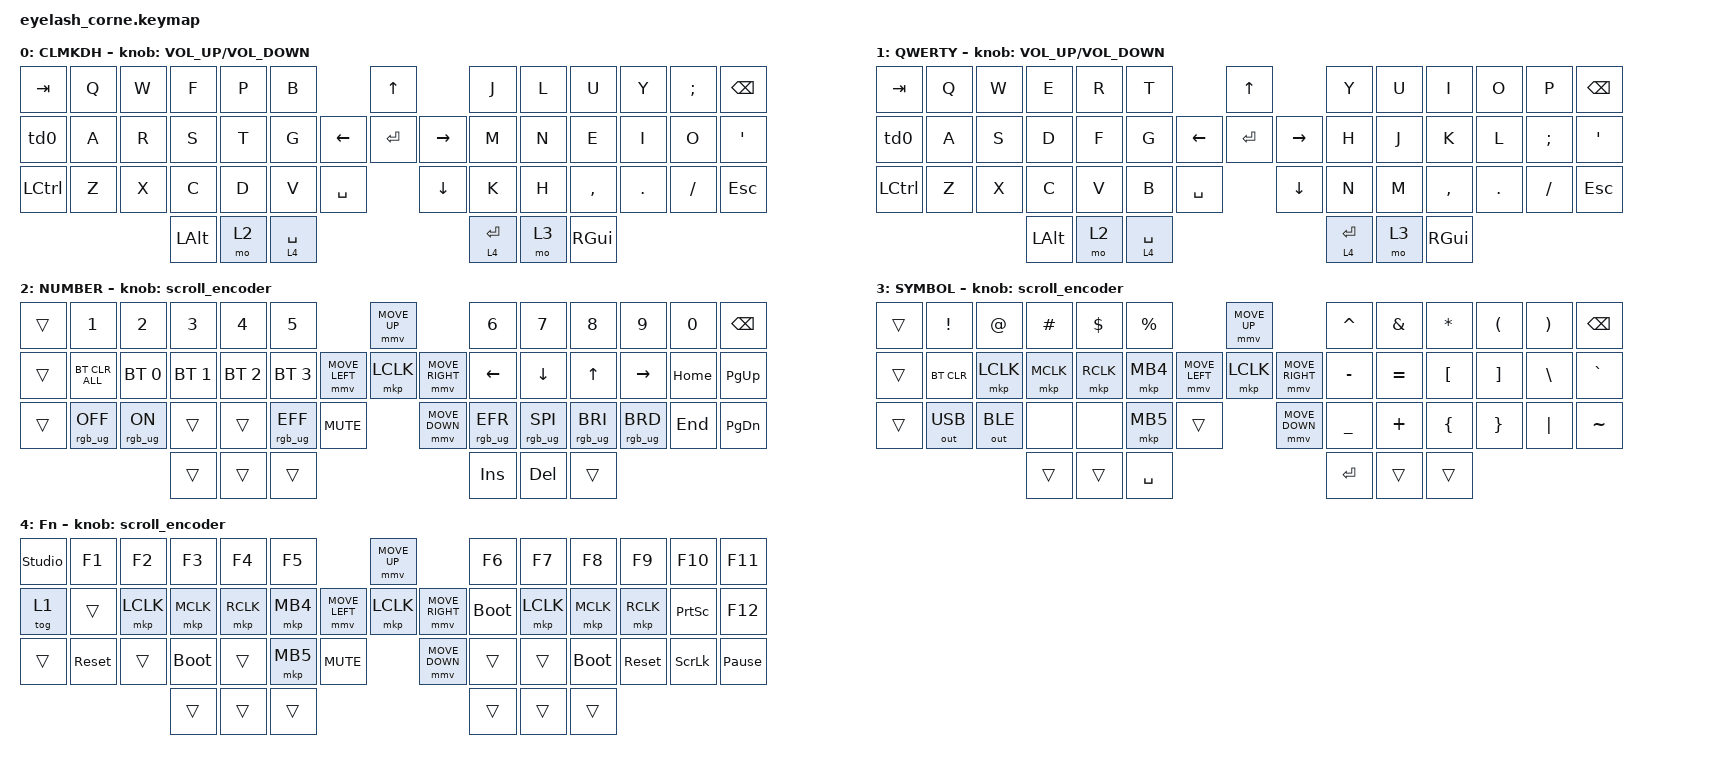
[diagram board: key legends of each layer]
#include <dt-bindings/zmk/mouse.h>
#include <input/processors.dtsi>
#include <behaviors.dtsi>
#include <dt-bindings/zmk/bt.h>
#include <dt-bindings/zmk/keys.h>
#include <dt-bindings/zmk/outputs.h>
#include <dt-bindings/zmk/pointing.h>
#include <dt-bindings/zmk/pointing.h>
#include <dt-bindings/zmk/pointing.h>
#include <dt-bindings/zmk/rgb.h>

/*

   &mmv_input_listener {
       input-processors = <&zip_xy_scaler 2 1>;
   };

   &msc_input_listener {
       input-processors = <&zip_xy_scaler 2 1>;
   };

 */

#define ZMK_MOUSE_DEFAULT_MOVE_VAL 1200  // 600
#define ZMK_MOUSE_DEFAULT_SCRL_VAL 20    // 10

/ {
    behaviors {
        td0: td0 {
            compatible = "zmk,behavior-tap-dance";
            display-name = "Shift/Caps Lock Tap Dance";
            #binding-cells = <0>;
            bindings = <&kp LEFT_SHIFT>, <&kp CAPS>;
        };
    };

    rgb_encoder: rgb_encoder {
        compatible = "zmk,behavior-sensor-rotate";
        #sensor-binding-cells = <0>;
        bindings = <&rgb_ug RGB_BRI>, <&rgb_ug RGB_BRD>;
    };

    scroll_encoder: scroll_encoder {
        compatible = "zmk,behavior-sensor-rotate";
        #sensor-binding-cells = <0>;
        bindings = <&msc SCRL_DOWN>, <&msc SCRL_UP>;

        tap-ms = <30>;
    };

    keymap {
        compatible = "zmk,keymap";

        colemak_layer {
            display-name = "CLMKDH";
            bindings = <
&kp TAB    &kp Q  &kp W  &kp F     &kp P  &kp B                               &kp UP                &kp J        &kp L  &kp U          &kp Y    &kp SEMICOLON  &kp BSPC
&td0       &kp A  &kp R  &kp S     &kp T  &kp G                     &kp LEFT  &kp ENTER  &kp RIGHT  &kp M        &kp N  &kp E          &kp I    &kp O          &kp SQT
&kp LCTRL  &kp Z  &kp X  &kp C     &kp D  &kp V        &kp SPACE              &kp DOWN              &kp K        &kp H  &kp COMMA      &kp DOT  &kp FSLH       &kp ESC
                         &kp LALT  &mo 2  &lt 4 SPACE                                               &lt 4 ENTER  &mo 3  &kp RIGHT_GUI
            >;

            sensor-bindings = <&inc_dec_kp C_VOLUME_UP C_VOLUME_DOWN>;
        };

        qwerty_layer {
            display-name = "QWERTY";
            bindings = <
&kp TAB    &kp Q  &kp W  &kp E     &kp R  &kp T                               &kp UP                &kp Y        &kp U  &kp I          &kp O    &kp P          &kp BSPC
&td0       &kp A  &kp S  &kp D     &kp F  &kp G                     &kp LEFT  &kp ENTER  &kp RIGHT  &kp H        &kp J  &kp K          &kp L    &kp SEMICOLON  &kp SQT
&kp LCTRL  &kp Z  &kp X  &kp C     &kp V  &kp B        &kp SPACE              &kp DOWN              &kp N        &kp M  &kp COMMA      &kp DOT  &kp FSLH       &kp ESC
                         &kp LALT  &mo 2  &lt 4 SPACE                                               &lt 4 ENTER  &mo 3  &kp RIGHT_GUI
            >;

            sensor-bindings = <&inc_dec_kp C_VOLUME_UP C_VOLUME_DOWN>;
        };

        lower_layer {
            display-name = "NUMBER";
            bindings = <
&trans  &kp N1           &kp N2          &kp N3        &kp N4        &kp N5                                         &mmv MOVE_UP                     &kp N6           &kp N7           &kp N8           &kp N9           &kp N0    &kp BSPC
&trans  &bt BT_CLR_ALL   &bt BT_SEL 0    &bt BT_SEL 1  &bt BT_SEL 2  &bt BT_SEL 3                   &mmv MOVE_LEFT  &mkp LCLK       &mmv MOVE_RIGHT  &kp LEFT         &kp DOWN         &kp UP           &kp RIGHT        &kp HOME  &kp PG_UP
&trans  &rgb_ug RGB_OFF  &rgb_ug RGB_ON  &trans        &trans        &rgb_ug RGB_EFF  &kp C_MUTE                    &mmv MOVE_DOWN                   &rgb_ug RGB_EFR  &rgb_ug RGB_SPI  &rgb_ug RGB_BRI  &rgb_ug RGB_BRD  &kp END   &kp PG_DN
                                         &trans        &trans        &trans                                                                          &kp INS          &kp DEL          &trans
            >;

            sensor-bindings = <&scroll_encoder>;
        };

        raise_layer {
            display-name = "SYMBOL";
            bindings = <
&trans  &kp EXCL      &kp AT        &kp HASH   &kp DLLR   &kp PRCNT                            &mmv MOVE_UP                     &kp CARET  &kp AMPS   &kp ASTRK  &kp LPAR  &kp RPAR  &kp BSPC
&trans  &bt BT_CLR    &mkp LCLK     &mkp MCLK  &mkp RCLK  &mkp MB4             &mmv MOVE_LEFT  &mkp LCLK       &mmv MOVE_RIGHT  &kp MINUS  &kp EQUAL  &kp LBKT   &kp RBKT  &kp BSLH  &kp GRAVE
&trans  &out OUT_USB  &out OUT_BLE  &none      &none      &mkp MB5   &trans                    &mmv MOVE_DOWN                   &kp UNDER  &kp PLUS   &kp LBRC   &kp RBRC  &kp PIPE  &kp TILDE
                                    &trans     &trans     &kp SPACE                                                             &kp RET    &trans     &trans
            >;

            sensor-bindings = <&scroll_encoder>;
        };

        fn_layer {
            display-name = "Fn";
            bindings = <
&studio_unlock  &kp F1      &kp F2     &kp F3       &kp F4     &kp F5                                  &mmv MOVE_UP                     &kp F6       &kp F7     &kp F8       &kp F9      &kp F10          &kp F11
&tog 1          &trans      &mkp LCLK  &mkp MCLK    &mkp RCLK  &mkp MB4                &mmv MOVE_LEFT  &mkp LCLK       &mmv MOVE_RIGHT  &bootloader  &mkp LCLK  &mkp MCLK    &mkp RCLK   &kp PRINTSCREEN  &kp F12
&trans          &sys_reset  &trans     &bootloader  &trans     &mkp MB5  &kp C_MUTE                    &mmv MOVE_DOWN                   &trans       &trans     &bootloader  &sys_reset  &kp SCROLLLOCK   &kp PAUSE_BREAK
                                       &trans       &trans     &trans                                                                   &trans       &trans     &trans
            >;

            sensor-bindings = <&scroll_encoder>;
        };
    };
};
